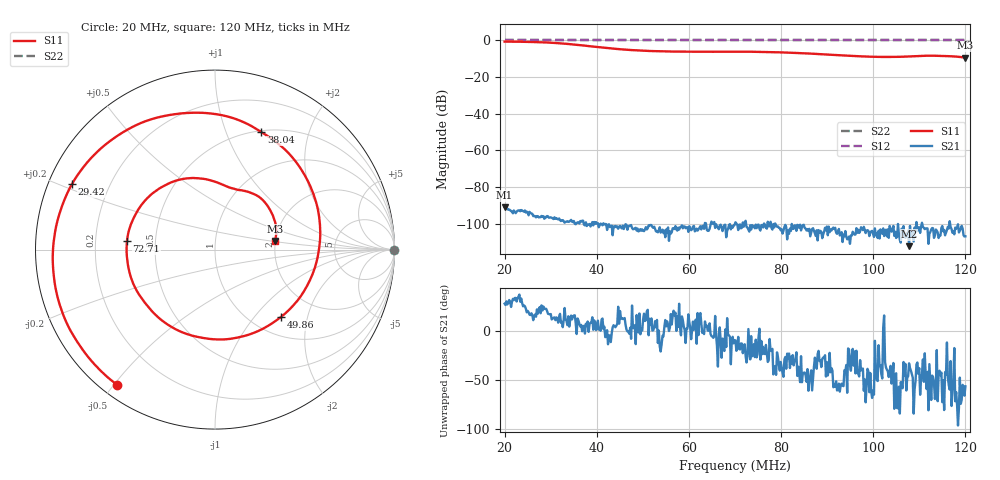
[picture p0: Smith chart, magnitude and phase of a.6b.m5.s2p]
! Anritsu VNA Master:  Model: MS2036C/10/77
! SN:  1601066
! /bd0/18may07/256.ns.m5.s2p
! Existing Calibration Information:
! TYPE:  Current Settings,  Active Cal Settings
! TIME:  05/07/2018 03:08:26 PM,  05/07/2018 02:58:54 PM
! INTERNAL TEMP:  59.8 C,  58.8 C
! # POINTS:  500,  500
! START FREQ:  20.000 MHz,  20.000 MHz
! STOP FREQ:  120.000 MHz,  120.000 MHz
! SOURCE POWER:  High,  High
! IFBW:  50 Hz,  50 Hz
! AVG FACTOR:  1 ,  1
! REF PLANE 1:  0 mm,  0 mm
! REF PLANE 2:  0 mm,  0 mm
! CAL TYPE:  Full S11,  Full S11
! CAL METHOD:  SOLT,  SOLT
! CAL LINE TYPE:  Coax,  Coax
! DUT PORT 1:  K-Conn(F),  K-Conn(F)
! DUT PORT 2:  K-Conn(F),  K-Conn(F)
! CAL STATUS:  OK: Accuracy High,  --
# GHZ S DB R 50.0
! FREQ.GHZ  S11DB  S11A  S21DB  S21A  S12DB  S12A  S22DB  S22A
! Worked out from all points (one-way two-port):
!   500 points, 20 MHz to 120 MHz, reference 50 ohm
!   highest |S21| = -91.07 dB at 20 MHz (marker M1); lowest = -112.3 dB at 107.8 MHz (marker M2)
!   lowest |S11| = -9.4 dB at 120 MHz (marker M3), VSWR 2.02, Z = 99.3 + j10.8 ohm
!   |S11| at or under -10 dB: nowhere
!   |S22| runs from 0.0 to 0.0 dB; largest |S21 - S12| = 1
!   S11 on the Smith chart (normalised r, x): 20 MHz: 0.05, -0.51; 29.42 MHz: 0.07, +0.22; 38.04 MHz: 0.52, +1.34; 49.86 MHz: 1.34, -1.39; 72.71 MHz: 0.34, +0.04; 120 MHz: 1.99, +0.22
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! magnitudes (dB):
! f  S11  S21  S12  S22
! 20 MHz  -0.6  -91.1  0.0  0.0
! 24.81 MHz  -0.8  -93.5  0.0  0.0
! 29.42 MHz  -1.1  -96.0  0.0  0.0
! 33.03 MHz  -1.8  -99.5  0.0  0.0
! 36.83 MHz  -2.7  -98.4  0.0  0.0
! 38.04 MHz  -3.1  -100.6  0.0  0.0
! 44.85 MHz  -4.8  -101.7  0.0  0.0
! 49.86 MHz  -5.6  -103.2  0.0  0.0
! 53.47 MHz  -5.9  -103.6  0.0  0.0
! 63.69 MHz  -6.2  -99.8  0.0  0.0
! 70.1 MHz  -6.2  -99.3  0.0  0.0
! 72.71 MHz  -6.2  -102.2  0.0  0.0
! 79.32 MHz  -6.5  -101.6  0.0  0.0
! 86.73 MHz  -7.2  -102.9  0.0  0.0
! 97.96 MHz  -8.7  -101.8  0.0  0.0
! 101.2 MHz  -9.0  -103.9  0.0  0.0
! 103.4 MHz  -9.0  -107.8  0.0  0.0
! 107.8 MHz  -8.7  -112.3  0.0  0.0
! 111.4 MHz  -8.4  -102.6  0.0  0.0
! 114 MHz  -8.4  -104.8  0.0  0.0
! 117.6 MHz  -8.7  -105.8  0.0  0.0
! 120 MHz  -9.4  -107.0  0.0  0.0
